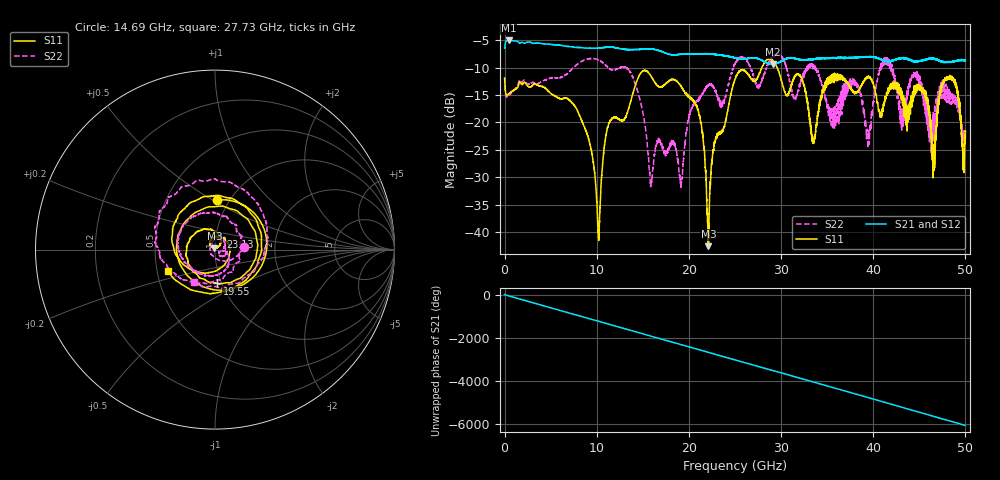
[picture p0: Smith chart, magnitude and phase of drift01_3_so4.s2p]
!Created with skrf (http://scikit-rf.org).
# Hz S RI R 50.0
!freq ReS11 ImS11 ReS21 ImS21 ReS12 ImS12 ReS22 ImS22
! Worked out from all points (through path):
!   10001 points, 300 kHz to 50 GHz, reference 50 ohm
!   highest |S21| = -5.06 dB at 425.3 MHz (marker M1); lowest = -9.4 dB at 29.08 GHz (marker M2)
!   group delay of S21, straight-line fit = 336 ps
!   lowest |S11| = -42.6 dB at 22.11 GHz (marker M3), VSWR 1.01, Z = 49.6 + j0.636 ohm
!   |S11| at or under -10 dB: start of sweep to 27.92 GHz; 29.58 GHz to end of sweep
!   |S22| runs from -31.9 to -7.4 dB; largest |S21 - S12| = 0.01
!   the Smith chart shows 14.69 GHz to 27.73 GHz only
!   S11 on the Smith chart (normalised r, x): 14.69 GHz: 0.88, +0.52; 19.55 GHz: 0.95, -0.37; 23.13 GHz: 1.05, +0.15; 27.73 GHz: 0.57, -0.15
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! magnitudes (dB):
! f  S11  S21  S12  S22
! 300 kHz  -12.0  -6.5  -6.5  -11.8
! 425.3 MHz  -14.8  -5.1  -5.1  -15.1
! 8.335 GHz  -19.6  -6.4  -6.4  -8.9
! 10.2 GHz  -40.9  -6.4  -6.4  -8.6
! 11.23 GHz  -20.7  -6.3  -6.3  -10.0
! 14.69 GHz  -11.2  -6.7  -6.7  -15.9
! 15.87 GHz  -11.5  -6.6  -6.6  -31.5
! 16.67 GHz  -13.4  -6.9  -6.9  -23.1
! 19.55 GHz  -14.5  -7.5  -7.5  -24.0
! 21.2 GHz  -19.0  -7.5  -7.5  -15.6
! 22.11 GHz  -42.6  -7.5  -7.5  -13.2
! 23.13 GHz  -22.2  -7.7  -7.7  -15.4
! 25 GHz  -12.1  -8.3  -8.3  -9.5
! 27.73 GHz  -10.8  -8.5  -8.5  -13.4
! 29.08 GHz  -8.7  -9.4  -9.4  -7.9
! 33.34 GHz  -22.7  -8.5  -8.5  -9.6
! 39.48 GHz  -11.6  -8.0  -8.1  -22.1
! 41.67 GHz  -13.9  -8.8  -8.8  -8.7
! 45.5 GHz  -14.3  -8.6  -8.6  -15.3
! 46.55 GHz  -26.4  -8.4  -8.3  -19.6
! 48.5 GHz  -11.8  -8.9  -8.9  -15.4
! 50 GHz  -21.7  -8.8  -8.7  -23.0
